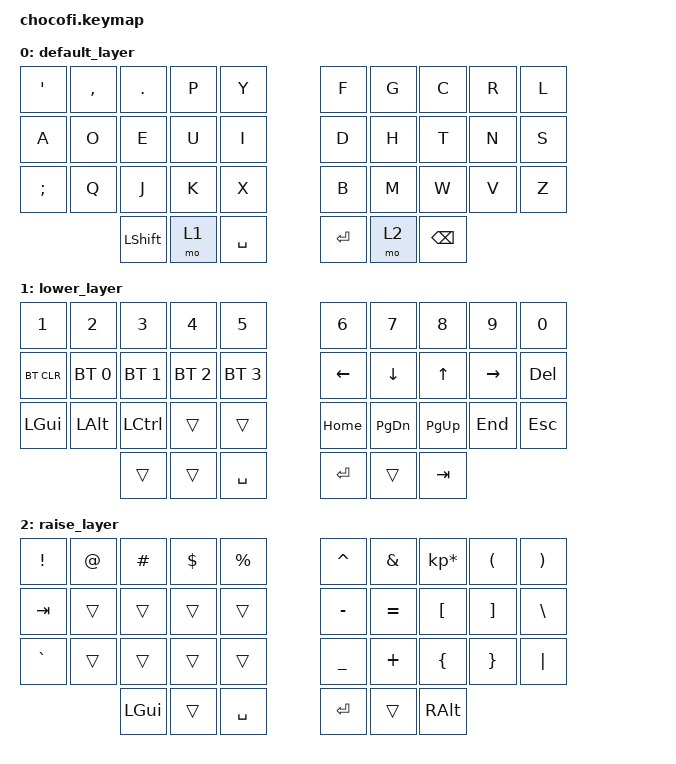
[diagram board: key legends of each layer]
/*
 * Copyright (c) 2020 The ZMK Contributors
 *
 * SPDX-License-Identifier: MIT
 */

#include <behaviors.dtsi>
#include <dt-bindings/zmk/keys.h>
#include <dt-bindings/zmk/bt.h>

/ {
        keymap {
                compatible = "zmk,keymap";

                default_layer {
// -----------------------------------------------------------------------------------------
// |  '  |  ,  |  .  |  P  |  Y  |   |  F  |  G  |  C  |  R  |  L  |
// |  A  |  O  |  E  |  U  |  I  |   |  D  |  H  |  T  |  N  |  S  |
// |  ;  |  Q  |  J  |  K  |  X  |   |  B  |  M  |  W  |  V  |  Z  |
//             | SHFT | LWR | SPC |   | ENT | RSE | BKSP |
                        bindings = <
   &kp SQT  &kp COMMA &kp DOT &kp P &kp Y   &kp F &kp G  &kp C &kp R &kp L
   &kp A    &kp O     &kp E   &kp U &kp I   &kp D &kp H  &kp T &kp N &kp S
   &kp SEMI &kp Q     &kp J   &kp K &kp X   &kp B &kp M  &kp W &kp V &kp Z
                 &kp LSHFT &mo 1 &kp SPACE   &kp RET &mo 2 &kp BSPC
                        >;
                };

                lower_layer {
// -----------------------------------------------------------------------------------------
// |  1  |  2  |  3  |  4  |  5  |   |  6  |  7  |  8  |  9  |  0  |
// |BTCLR| BT1 | BT2 | BT3 | BT4 |   | LFT | DWN |  UP | RGT | DEL |
// | GUI | ALT |CTRL |     |     |   | HOME|PGDN |PGUP | END | ESC |
//             |     |     | SPC |   | ENT |     | TAB |
                        bindings = <
   &kp N1     &kp N2       &kp N3       &kp N4       &kp N5         &kp N6   &kp N7    &kp N8    &kp N9    &kp N0
   &bt BT_CLR &bt BT_SEL 0 &bt BT_SEL 1 &bt BT_SEL 2 &bt BT_SEL 3   &kp LEFT &kp DOWN  &kp UP    &kp RIGHT &kp DEL
   &kp LGUI   &kp LALT     &kp LCTRL    &trans       &trans         &kp HOME &kp PG_DN &kp PG_UP &kp END   &kp ESC
                                          &trans &trans &kp SPACE     &kp RET  &trans    &kp TAB
                        >;
                };

                raise_layer {
// -----------------------------------------------------------------------------------------
// |  !  |  @  |  #  |  $  |  %  |   |  ^  |  &  |  *  |  (  |  )  |
// | TAB |     |     |     |     |   |  -  |  =  |  [  |  ]  |  \  |
// |  `  |     |     |     |     |   |  _  |  +  |  {  |  }  | "|" |
//             | GUI |     | SPC |   | ENT |     | ALT |
                        bindings = <
   &kp EXCL  &kp AT &kp HASH &kp DLLR &kp PRCNT   &kp CARET &kp AMPS  &kp KP_MULTIPLY &kp LPAR &kp RPAR
   &kp TAB   &trans &trans   &trans   &trans      &kp MINUS &kp EQUAL &kp LBKT        &kp RBKT &kp BSLH
   &kp GRAVE &trans &trans   &trans   &trans      &kp UNDER &kp PLUS  &kp LBRC        &kp RBRC &kp PIPE
                              &kp LGUI &trans &kp SPACE   &kp RET &trans &kp RALT
                        >;
                };
        };
};
